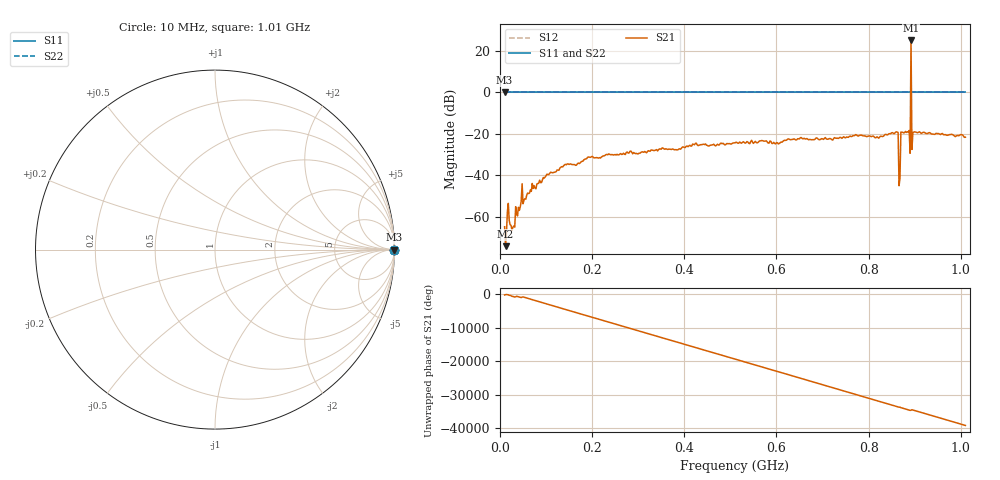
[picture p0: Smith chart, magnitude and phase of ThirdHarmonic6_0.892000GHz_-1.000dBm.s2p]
! 8/16/2025 5:19:02 AM
! C:\ANRITSUVNA\TEMP\TEMP.S2P
! CHANNEL.1
! TR.MEASUREMENT
! RAW.DATA
! RF.CORRECTION.OFF
! AVERAGING.OFF
! IF.BANDWIDTH: 5KHZ
! SWEEPTYPE:  FREQ.SWEEP(Linear)
! Reference Plane Port Info
! PORT:  PORT1  PORT2
! DISTANCE:  0  m  0  m
! TIME:  0  s  0  s
! PHASE.OFFSET:  0  deg.  0  deg.
! LOSS:  0  dB  0  dB
! REF.LOSS:  0  dB  0  dB
! REF.FREQ:  0  Hz  0  Hz
! Power Info
! POWER:  -20  dBm  -20  dBm
! EFF.POWER:  -20  dBm  -20  dBm
! SOURCE.ATTEN:  0  dB  0  dB
! TEST.ATTEN:  0  dB  0  dB
# GHZ S RI R 50.0
! FREQ.GHZ  S11RE  S11IM  S21RE  S21IM  S12RE  S12IM  S22RE  S22IM
!; PortSelection: Port_12
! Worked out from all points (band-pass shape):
!   501 points, 10 MHz to 1.01 GHz, reference 50 ohm
!   highest |S21| = 24.94 dB at 892 MHz (marker M1); lowest = -74.1 dB at 12 MHz (marker M2)
!   |S21| within 3 dB of the highest: 891.8895 MHz to 892.1143 MHz (224.8 kHz wide, 0.0252 % of centre)
!   lowest |S11| = 0.0 dB at 10 MHz (marker M3)
!   |S11| at or under -10 dB: nowhere
!   |S22| runs from 0.0 to 0.0 dB; largest |S21 - S12| = 17
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0.01  1 0  -0.000511 -0.000273  1 0  1 0
0.012  1 0  7.97e-05 -0.00018  1 0  1 0
0.02  1 0  -0.000111 0.00081  1 0  1 0
0.028  1 0  -0.00036 0.000429  1 0  1 0
0.044  1 0  -0.00111 -0.00134  1 0  1 0
0.07  1 0  -0.00299 -0.00563  1 0  1 0
0.142  1 0  -0.0169 -0.00733  1 0  1 0
0.178  1 0  -0.0212 -0.00462  1 0  1 0
0.344  1 0  0.039 -0.0139  1 0  1 0
0.51  1 0  -0.0452 0.0405  1 0  1 0
0.678  1 0  -0.0622 -0.0369  1 0  1 0
0.844  1 0  0.1004 0.00328  1 0  1 0
0.86  1 0  0.0347 0.1063  1 0  1 0
0.864  1 0  -0.00113 -0.1073  1 0  1 0
0.87  1 0  0.0961 0.0529  1 0  1 0
0.874  1 0  -0.0793 -0.0746  1 0  1 0
0.886  1 0  -0.0175 0.1073  1 0  1 0
0.888  1 0  0.1142 0.0365  1 0  1 0
0.892  1 0  16.14 -7.152  1 0  1 0
0.896  1 0  0.0719 0.0807  1 0  1 0
0.898  1 0  0.0931 -0.0575  1 0  1 0
1.01  1 0  -0.033 0.0757  1 0  1 0
